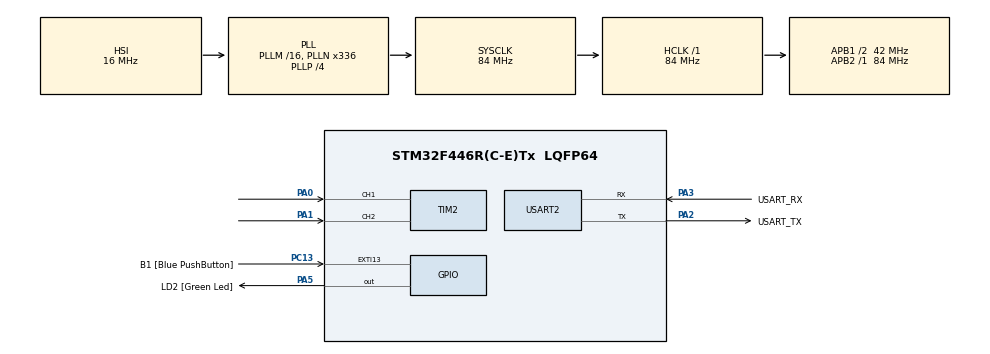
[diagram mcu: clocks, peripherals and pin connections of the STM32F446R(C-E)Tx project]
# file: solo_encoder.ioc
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Mcu.Family=STM32F4
Mcu.Name=STM32F446R(C-E)Tx
Mcu.Package=LQFP64
NVIC.PriorityGroup=NVIC_PRIORITYGROUP_0
PA0-WKUP.Signal=S_TIM2_CH1_ETR
PA1.Signal=S_TIM2_CH2
PA13.GPIO_Label=TMS
PA13.Mode=Serial_Wire
PA13.Signal=SYS_JTMS-SWDIO
PA14.GPIO_Label=TCK
PA14.Mode=Serial_Wire
PA14.Signal=SYS_JTCK-SWCLK
PA2.GPIO_Label=USART_TX
PA2.Mode=Asynchronous
PA2.Signal=USART2_TX
PA3.GPIO_Label=USART_RX
PA3.Mode=Asynchronous
PA3.Signal=USART2_RX
PA5.GPIO_Label=LD2 [Green Led]
PA5.Signal=GPIO_Output
PB3.GPIO_Label=SWO
PB3.Signal=SYS_JTDO-SWO
PC13.GPIO_Label=B1 [Blue PushButton]
PC13.GPIO_ModeDefaultEXTI=GPIO_MODE_IT_FALLING
PC13.Signal=GPXTI13
PC14-OSC32_IN.Mode=LSE-External-Oscillator
PC14-OSC32_IN.Signal=RCC_OSC32_IN
PC15-OSC32_OUT.Mode=LSE-External-Oscillator
PC15-OSC32_OUT.Signal=RCC_OSC32_OUT
PH0-OSC_IN.Mode=HSE-External-Oscillator
PH0-OSC_IN.Signal=RCC_OSC_IN
PH1-OSC_OUT.Mode=HSE-External-Oscillator
PH1-OSC_OUT.Signal=RCC_OSC_OUT
ProjectManager.HeapSize=0x200
ProjectManager.StackSize=0x400
ProjectManager.TargetToolchain=STM32CubeIDE
RCC.48MHZClocksFreq_Value=84000000
RCC.AHBFreq_Value=84000000
RCC.APB1CLKDivider=RCC_HCLK_DIV2
RCC.APB1Freq_Value=42000000
RCC.APB1TimFreq_Value=84000000
RCC.APB2Freq_Value=84000000
RCC.APB2TimFreq_Value=84000000
RCC.CortexFreq_Value=84000000
RCC.FLatency-AdvancedSettings=FLASH_LATENCY_2
RCC.HCLKFreq_Value=84000000
RCC.HSE_VALUE=8000000
RCC.HSI_VALUE=16000000
RCC.PLLN=336
RCC.PLLP=RCC_PLLP_DIV4
RCC.SYSCLKFreq_VALUE=84000000
RCC.SYSCLKSource=RCC_SYSCLKSOURCE_PLLCLK
RCC.USBFreq_Value=168000000
RCC.VCOOutputFreq_Value=336000000
SH.S_TIM2_CH1_ETR.0=TIM2_CH1,Encoder_Interface
SH.S_TIM2_CH2.0=TIM2_CH2,Encoder_Interface
TIM2.EncoderMode=TIM_ENCODERMODE_TI12
TIM2.IC1Filter=0
TIM2.IC2Filter=0
USART2.VirtualMode=VM_ASYNC
board=NUCLEO-F446RE

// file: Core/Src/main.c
/* USER CODE BEGIN Header */
/**
  ******************************************************************************
  * @file           : main.c
  * @brief          : Main program body
  ******************************************************************************
  * @attention
  *
  * Copyright (c) 2026 STMicroelectronics.
  * All rights reserved.
  *
  * This software is licensed under terms that can be found in the LICENSE file
  * in the root directory of this software component.
  * If no LICENSE file comes with this software, it is provided AS-IS.
  *
  ******************************************************************************
  */
/* USER CODE END Header */
#include "main.h"

TIM_HandleTypeDef htim2;

UART_HandleTypeDef huart2;

/* USER CODE BEGIN PV */
#define ENCODER_CPR  2400
#define HALF_CPR     1200
#define PI_F         3.14159265358979323846f

// Metti -1 se vuoi invertire il verso positivo dell'angolo.
#define ENCODER_SIGN  1

static uint32_t conteggio_precedente = 0;
static int32_t posizione = HALF_CPR;

volatile float theta_deg = 180.0f;
volatile float theta_rad = PI_F;

/* USER CODE END PV */

void SystemClock_Config(void);
static void MX_GPIO_Init(void);
static void MX_USART2_UART_Init(void);
static void MX_TIM2_Init(void);

/* USER CODE BEGIN 0 */
void Leggi_theta(){
	uint32_t conteggio = __HAL_TIM_GET_COUNTER(&htim2);

	int64_t delta = (int64_t)conteggio
				- (int64_t)conteggio_precedente;

	conteggio_precedente = conteggio;

	// Gestione del passaggio attraverso lo zero del timer a 32 bit.
	if (delta > 2147483647LL)
	  delta -= 4294967296LL;
	else if (delta < -2147483648LL)
	  delta += 4294967296LL;

	// Aggiorna la posizione e la riporta entro un giro.
	int64_t nuova_posizione =
	  ((int64_t)posizione + ENCODER_SIGN * delta) % ENCODER_CPR;

	// Intervallo conteggi: (-1200, +1200].
	if (nuova_posizione > HALF_CPR)
	  nuova_posizione -= ENCODER_CPR;
	else if (nuova_posizione <= -HALF_CPR)
	  nuova_posizione += ENCODER_CPR;

	posizione = (int32_t)nuova_posizione;

	// Le due uscite richieste.
	theta_deg = (float)posizione * (360.0f / ENCODER_CPR);
	theta_rad = (float)posizione * (2.0f * PI_F / ENCODER_CPR);
}

/* USER CODE END 0 */

int main(void)
{

  /* MCU Configuration--------------------------------------------------------*/

  /* Reset of all peripherals, Initializes the Flash interface and the Systick. */
  HAL_Init();

  /* Configure the system clock */
  SystemClock_Config();

  /* Initialize all configured peripherals */
  MX_GPIO_Init();
  MX_USART2_UART_Init();
  MX_TIM2_Init();
  /* USER CODE BEGIN 2 */
  HAL_TIM_Encoder_Start(&htim2, TIM_CHANNEL_ALL);

  /* USER CODE END 2 */

  /* Infinite loop */
  while (1)
  {
	Leggi_theta();
  }
}

void SystemClock_Config(void)
{
  RCC_OscInitTypeDef RCC_OscInitStruct = {0};
  RCC_ClkInitTypeDef RCC_ClkInitStruct = {0};

  /** Configure the main internal regulator output voltage
  */
  __HAL_RCC_PWR_CLK_ENABLE();
  __HAL_PWR_VOLTAGESCALING_CONFIG(PWR_REGULATOR_VOLTAGE_SCALE3);

  /** Initializes the RCC Oscillators according to the specified parameters
  * in the RCC_OscInitTypeDef structure.
  */
  RCC_OscInitStruct.OscillatorType = RCC_OSCILLATORTYPE_HSI;
  RCC_OscInitStruct.HSIState = RCC_HSI_ON;
  RCC_OscInitStruct.HSICalibrationValue = RCC_HSICALIBRATION_DEFAULT;
  RCC_OscInitStruct.PLL.PLLState = RCC_PLL_ON;
  RCC_OscInitStruct.PLL.PLLSource = RCC_PLLSOURCE_HSI;
  RCC_OscInitStruct.PLL.PLLM = 16;
  RCC_OscInitStruct.PLL.PLLN = 336;
  RCC_OscInitStruct.PLL.PLLP = RCC_PLLP_DIV4;
  RCC_OscInitStruct.PLL.PLLQ = 2;
  RCC_OscInitStruct.PLL.PLLR = 2;
  if (HAL_RCC_OscConfig(&RCC_OscInitStruct) != HAL_OK)
  {
    Error_Handler();
  }

  /** Initializes the CPU, AHB and APB buses clocks
  */
  RCC_ClkInitStruct.ClockType = RCC_CLOCKTYPE_HCLK|RCC_CLOCKTYPE_SYSCLK
                              |RCC_CLOCKTYPE_PCLK1|RCC_CLOCKTYPE_PCLK2;
  RCC_ClkInitStruct.SYSCLKSource = RCC_SYSCLKSOURCE_PLLCLK;
  RCC_ClkInitStruct.AHBCLKDivider = RCC_SYSCLK_DIV1;
  RCC_ClkInitStruct.APB1CLKDivider = RCC_HCLK_DIV2;
  RCC_ClkInitStruct.APB2CLKDivider = RCC_HCLK_DIV1;

  if (HAL_RCC_ClockConfig(&RCC_ClkInitStruct, FLASH_LATENCY_2) != HAL_OK)
  {
    Error_Handler();
  }
}

static void MX_TIM2_Init(void)
{

  TIM_Encoder_InitTypeDef sConfig = {0};
  TIM_MasterConfigTypeDef sMasterConfig = {0};

  htim2.Instance = TIM2;
  htim2.Init.Prescaler = 0;
  htim2.Init.CounterMode = TIM_COUNTERMODE_UP;
  htim2.Init.Period = 4294967295;
  htim2.Init.ClockDivision = TIM_CLOCKDIVISION_DIV1;
  htim2.Init.AutoReloadPreload = TIM_AUTORELOAD_PRELOAD_DISABLE;
  sConfig.EncoderMode = TIM_ENCODERMODE_TI12;
  sConfig.IC1Polarity = TIM_ICPOLARITY_RISING;
  sConfig.IC1Selection = TIM_ICSELECTION_DIRECTTI;
  sConfig.IC1Prescaler = TIM_ICPSC_DIV1;
  sConfig.IC1Filter = 0;
  sConfig.IC2Polarity = TIM_ICPOLARITY_RISING;
  sConfig.IC2Selection = TIM_ICSELECTION_DIRECTTI;
  sConfig.IC2Prescaler = TIM_ICPSC_DIV1;
  sConfig.IC2Filter = 0;
  if (HAL_TIM_Encoder_Init(&htim2, &sConfig) != HAL_OK)
  {
    Error_Handler();
  }
  sMasterConfig.MasterOutputTrigger = TIM_TRGO_RESET;
  sMasterConfig.MasterSlaveMode = TIM_MASTERSLAVEMODE_DISABLE;
  if (HAL_TIMEx_MasterConfigSynchronization(&htim2, &sMasterConfig) != HAL_OK)
  {
    Error_Handler();
  }

}

static void MX_USART2_UART_Init(void)
{

  huart2.Instance = USART2;
  huart2.Init.BaudRate = 115200;
  huart2.Init.WordLength = UART_WORDLENGTH_8B;
  huart2.Init.StopBits = UART_STOPBITS_1;
  huart2.Init.Parity = UART_PARITY_NONE;
  huart2.Init.Mode = UART_MODE_TX_RX;
  huart2.Init.HwFlowCtl = UART_HWCONTROL_NONE;
  huart2.Init.OverSampling = UART_OVERSAMPLING_16;
  if (HAL_UART_Init(&huart2) != HAL_OK)
  {
    Error_Handler();
  }

}

static void MX_GPIO_Init(void)
{
  GPIO_InitTypeDef GPIO_InitStruct = {0};

  /* GPIO Ports Clock Enable */
  __HAL_RCC_GPIOC_CLK_ENABLE();
  __HAL_RCC_GPIOH_CLK_ENABLE();
  __HAL_RCC_GPIOA_CLK_ENABLE();
  __HAL_RCC_GPIOB_CLK_ENABLE();

  /*Configure GPIO pin Output Level */
  HAL_GPIO_WritePin(LD2_GPIO_Port, LD2_Pin, GPIO_PIN_RESET);

  /*Configure GPIO pin : B1_Pin */
  GPIO_InitStruct.Pin = B1_Pin;
  GPIO_InitStruct.Mode = GPIO_MODE_IT_FALLING;
  GPIO_InitStruct.Pull = GPIO_NOPULL;
  HAL_GPIO_Init(B1_GPIO_Port, &GPIO_InitStruct);

  /*Configure GPIO pin : LD2_Pin */
  GPIO_InitStruct.Pin = LD2_Pin;
  GPIO_InitStruct.Mode = GPIO_MODE_OUTPUT_PP;
  GPIO_InitStruct.Pull = GPIO_NOPULL;
  GPIO_InitStruct.Speed = GPIO_SPEED_FREQ_LOW;
  HAL_GPIO_Init(LD2_GPIO_Port, &GPIO_InitStruct);

}

void Error_Handler(void)
{
  __disable_irq();
  while (1)
  {
  }
}
